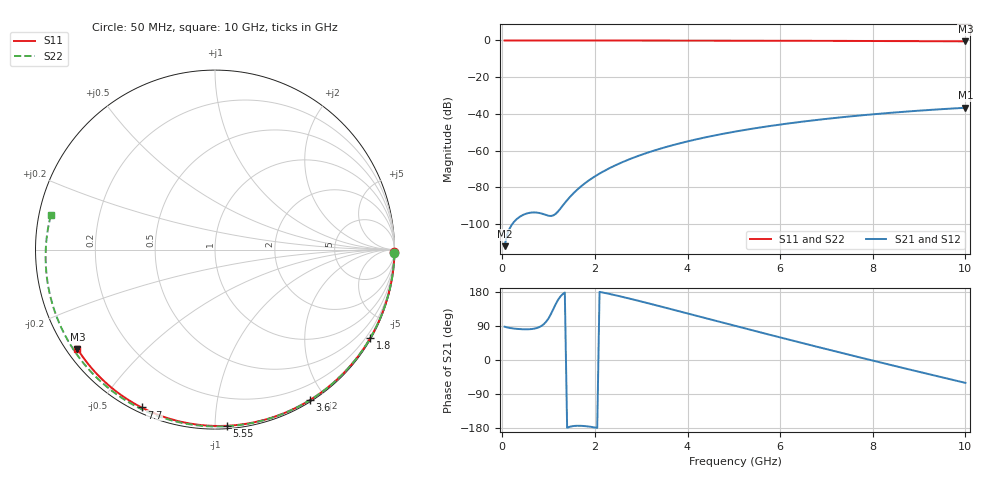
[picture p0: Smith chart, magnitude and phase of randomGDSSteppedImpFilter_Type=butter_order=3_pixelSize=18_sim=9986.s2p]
! freq	dB(S11)	phase(S11)	dB(S12)	phase(S12)
!  dB(S21)	phase(S21)	dB(S22)	phase(S22)
!S-par simulation data
#  GHz  S  DB  R 50
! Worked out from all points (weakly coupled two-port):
!   200 points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, 50 MHz to 10 GHz, reference 50 ohm
!   highest |S21| = -36.62 dB at 10 GHz (marker M1); lowest = -111.9 dB at 50 MHz (marker M2)
!   lowest |S11| = -0.5 dB at 10 GHz (marker M3), VSWR 35.60, Z = 1.55 - j16.1 ohm
!   |S11| at or under -10 dB: nowhere
!   |S22| runs from -0.6 to 0.0 dB; largest |S21 - S12| = 0
!   S11 on the Smith chart (normalised r, x): 50 MHz: open; 1.8 GHz: 0.03, -3.78; 3.6 GHz: 0.02, -1.81; 5.55 GHz: 0.02, -1.07; 7.7 GHz: 0.02, -0.64; 10 GHz: 0.03, -0.32
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0.05  -0.00 -0.8  -111.94 87.9  -111.94 87.9  -0.00 -1.1
0.4  -0.01 -6.7  -95.59 81.4  -95.59 81.4  -0.01 -9.0
0.8  -0.02 -13.3  -93.88 86.9  -93.88 86.9  -0.02 -17.9
1.2  -0.02 -19.9  -93.16 157.9  -93.16 157.9  -0.03 -26.8
1.65  -0.03 -27.2  -80.48 -173.5  -80.48 -173.5  -0.05 -36.5
1.7  -0.04 -28.1  -79.41 -173.7  -79.41 -173.7  -0.05 -37.6
1.75  -0.04 -28.9  -78.39 -174.1  -78.39 -174.1  -0.05 -38.7
1.8  -0.04 -29.7  -77.42 -174.6  -77.42 -174.6  -0.05 -39.8
2.1  -0.04 -34.5  -72.43 179.8  -72.43 179.8  -0.06 -46.1
2.5  -0.05 -40.8  -67.27 169.3  -67.27 169.3  -0.07 -54.5
2.9  -0.06 -47.1  -63.15 157.5  -63.15 157.5  -0.08 -62.8
3.4  -0.07 -54.8  -58.98 141.9  -58.98 141.9  -0.10 -72.8
3.6  -0.08 -57.9  -57.53 135.6  -57.53 135.6  -0.10 -76.7
4.3  -0.10 -68.3  -53.19 113.3  -53.19 113.3  -0.13 -90.2
5.05  -0.12 -79.2  -49.49 89.5  -49.49 89.5  -0.16 -104.1
5.55  -0.14 -86.2  -47.41 73.7  -47.41 73.7  -0.18 -113.1
6.1  -0.17 -93.8  -45.42 56.4  -45.42 56.4  -0.22 -122.9
6.7  -0.20 -101.8  -43.52 37.9  -43.52 37.9  -0.26 -133.3
7.7  -0.26 -114.9  -40.88 7.4  -40.88 7.4  -0.34 -150.6
8.35  -0.32 -123.3  -39.44 -12.0  -39.44 -12.0  -0.40 -161.9
9.2  -0.40 -134.1  -37.85 -37.1  -37.85 -37.1  -0.49 -177.1
10  -0.49 -144.2  -36.62 -60.4  -36.62 -60.4  -0.59 167.9
